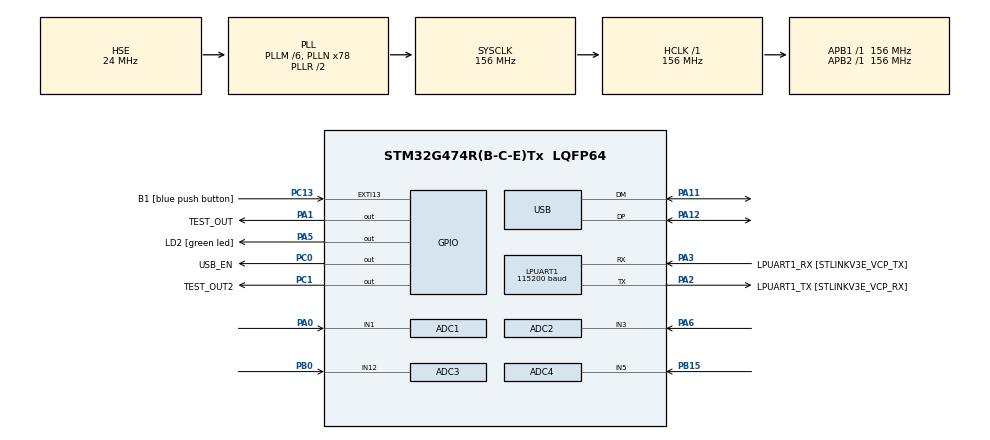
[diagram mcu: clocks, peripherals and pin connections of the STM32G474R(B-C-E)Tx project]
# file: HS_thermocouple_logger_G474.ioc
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ADC1.Channel-7\#ChannelRegularConversion=ADC_CHANNEL_1
ADC1.ClockPrescaler=ADC_CLOCK_ASYNC_DIV1
ADC1.ContinuousConvMode=DISABLE
ADC1.DMAContinuousRequests=ENABLE
ADC1.EnableRegularConversion=ENABLE
ADC1.ExternalTrigConv=ADC_EXTERNALTRIG_T2_TRGO
ADC1.NbrOfConversionFlag=1
ADC1.OffsetNumber-7\#ChannelRegularConversion=ADC_OFFSET_NONE
ADC1.OversamplingMode=ENABLE
ADC1.Rank-7\#ChannelRegularConversion=1
ADC1.Ratio=ADC_OVERSAMPLING_RATIO_32
ADC1.RightBitShift=ADC_RIGHTBITSHIFT_1
ADC1.SamplingTime-7\#ChannelRegularConversion=ADC_SAMPLETIME_2CYCLES_5
ADC1.master=1
ADC2.Channel-0\#ChannelRegularConversion=ADC_CHANNEL_3
ADC2.ClockPrescaler=ADC_CLOCK_ASYNC_DIV1
ADC2.DMAContinuousRequests=ENABLE
ADC2.ExternalTrigConv=ADC_EXTERNALTRIG_T2_TRGO
ADC2.NbrOfConversion=1
ADC2.NbrOfConversionFlag=1
ADC2.OffsetNumber-0\#ChannelRegularConversion=ADC_OFFSET_NONE
ADC2.OversamplingMode=ENABLE
ADC2.OversamplingStopReset=ADC_REGOVERSAMPLING_CONTINUED_MODE
ADC2.Rank-0\#ChannelRegularConversion=1
ADC2.Ratio=ADC_OVERSAMPLING_RATIO_32
ADC2.RightBitShift=ADC_RIGHTBITSHIFT_1
ADC2.SamplingTime-0\#ChannelRegularConversion=ADC_SAMPLETIME_2CYCLES_5
ADC3.Channel-0\#ChannelRegularConversion=ADC_CHANNEL_12
ADC3.ClockPrescaler=ADC_CLOCK_ASYNC_DIV1
ADC3.DMAContinuousRequests=ENABLE
ADC3.ExternalTrigConv=ADC_EXTERNALTRIG_T2_TRGO
ADC3.NbrOfConversionFlag=1
ADC3.OffsetNumber-0\#ChannelRegularConversion=ADC_OFFSET_NONE
ADC3.OversamplingMode=ENABLE
ADC3.Rank-0\#ChannelRegularConversion=1
ADC3.Ratio=ADC_OVERSAMPLING_RATIO_32
ADC3.RightBitShift=ADC_RIGHTBITSHIFT_1
ADC3.SamplingTime-0\#ChannelRegularConversion=ADC_SAMPLETIME_2CYCLES_5
ADC3.master=1
ADC4.Channel-0\#ChannelRegularConversion=ADC_CHANNEL_5
ADC4.ClockPrescaler=ADC_CLOCK_ASYNC_DIV1
ADC4.DMAContinuousRequests=ENABLE
ADC4.ExternalTrigConv=ADC_EXTERNALTRIG_T2_TRGO
ADC4.NbrOfConversionFlag=1
ADC4.OffsetNumber-0\#ChannelRegularConversion=ADC_OFFSET_NONE
ADC4.OversamplingMode=ENABLE
ADC4.Rank-0\#ChannelRegularConversion=1
ADC4.Ratio=ADC_OVERSAMPLING_RATIO_32
ADC4.RightBitShift=ADC_RIGHTBITSHIFT_1
ADC4.SamplingTime-0\#ChannelRegularConversion=ADC_SAMPLETIME_2CYCLES_5
Dma.ADC1.0.Direction=DMA_PERIPH_TO_MEMORY
Dma.ADC1.0.EventEnable=DISABLE
Dma.ADC1.0.Instance=DMA1_Channel5
Dma.ADC1.0.MemDataAlignment=DMA_MDATAALIGN_HALFWORD
Dma.ADC1.0.MemInc=DMA_MINC_ENABLE
Dma.ADC1.0.Mode=DMA_CIRCULAR
Dma.ADC1.0.PeriphDataAlignment=DMA_PDATAALIGN_HALFWORD
Dma.ADC1.0.PeriphInc=DMA_PINC_DISABLE
Dma.ADC1.0.Polarity=HAL_DMAMUX_REQ_GEN_RISING
Dma.ADC1.0.Priority=DMA_PRIORITY_LOW
Dma.ADC1.0.RequestNumber=1
Dma.ADC1.0.SignalID=NONE
Dma.ADC1.0.SyncEnable=DISABLE
Dma.ADC1.0.SyncPolarity=HAL_DMAMUX_SYNC_NO_EVENT
Dma.ADC1.0.SyncRequestNumber=1
Dma.ADC1.0.SyncSignalID=NONE
Dma.ADC2.1.Direction=DMA_PERIPH_TO_MEMORY
Dma.ADC2.1.EventEnable=DISABLE
Dma.ADC2.1.Instance=DMA1_Channel2
Dma.ADC2.1.MemDataAlignment=DMA_MDATAALIGN_HALFWORD
Dma.ADC2.1.MemInc=DMA_MINC_ENABLE
Dma.ADC2.1.Mode=DMA_CIRCULAR
Dma.ADC2.1.PeriphDataAlignment=DMA_PDATAALIGN_HALFWORD
Dma.ADC2.1.PeriphInc=DMA_PINC_DISABLE
Dma.ADC2.1.Polarity=HAL_DMAMUX_REQ_GEN_RISING
Dma.ADC2.1.Priority=DMA_PRIORITY_LOW
Dma.ADC2.1.RequestNumber=1
Dma.ADC2.1.SignalID=NONE
Dma.ADC2.1.SyncEnable=DISABLE
Dma.ADC2.1.SyncPolarity=HAL_DMAMUX_SYNC_NO_EVENT
Dma.ADC2.1.SyncRequestNumber=1
Dma.ADC2.1.SyncSignalID=NONE
Dma.ADC3.2.Direction=DMA_PERIPH_TO_MEMORY
Dma.ADC3.2.EventEnable=DISABLE
Dma.ADC3.2.Instance=DMA1_Channel3
Dma.ADC3.2.MemDataAlignment=DMA_MDATAALIGN_HALFWORD
Dma.ADC3.2.MemInc=DMA_MINC_ENABLE
Dma.ADC3.2.Mode=DMA_CIRCULAR
Dma.ADC3.2.PeriphDataAlignment=DMA_PDATAALIGN_HALFWORD
Dma.ADC3.2.PeriphInc=DMA_PINC_DISABLE
Dma.ADC3.2.Polarity=HAL_DMAMUX_REQ_GEN_RISING
Dma.ADC3.2.Priority=DMA_PRIORITY_LOW
Dma.ADC3.2.RequestNumber=1
Dma.ADC3.2.SignalID=NONE
Dma.ADC3.2.SyncEnable=DISABLE
Dma.ADC3.2.SyncPolarity=HAL_DMAMUX_SYNC_NO_EVENT
Dma.ADC3.2.SyncRequestNumber=1
Dma.ADC3.2.SyncSignalID=NONE
Dma.ADC4.3.Direction=DMA_PERIPH_TO_MEMORY
Dma.ADC4.3.EventEnable=DISABLE
Dma.ADC4.3.Instance=DMA1_Channel4
Dma.ADC4.3.MemDataAlignment=DMA_MDATAALIGN_HALFWORD
Dma.ADC4.3.MemInc=DMA_MINC_ENABLE
Dma.ADC4.3.Mode=DMA_CIRCULAR
Dma.ADC4.3.PeriphDataAlignment=DMA_PDATAALIGN_HALFWORD
Dma.ADC4.3.PeriphInc=DMA_PINC_DISABLE
Dma.ADC4.3.Polarity=HAL_DMAMUX_REQ_GEN_RISING
Dma.ADC4.3.Priority=DMA_PRIORITY_LOW
Dma.ADC4.3.RequestNumber=1
Dma.ADC4.3.SignalID=NONE
Dma.ADC4.3.SyncEnable=DISABLE
Dma.ADC4.3.SyncPolarity=HAL_DMAMUX_SYNC_NO_EVENT
Dma.ADC4.3.SyncRequestNumber=1
Dma.ADC4.3.SyncSignalID=NONE
Dma.Request0=ADC1
Dma.Request1=ADC2
Dma.Request2=ADC3
Dma.Request3=ADC4
LPUART1.BaudRate=115200
LPUART1.WordLength=UART_WORDLENGTH_8B
Mcu.Family=STM32G4
Mcu.Name=STM32G474R(B-C-E)Tx
Mcu.Package=LQFP64
NVIC.DMA1_Channel2_IRQn=true\:0\:0\:false\:false\:true\:false\:true\:true
NVIC.DMA1_Channel3_IRQn=true\:0\:0\:false\:false\:true\:false\:true\:true
NVIC.DMA1_Channel4_IRQn=true\:0\:0\:false\:false\:true\:false\:true\:true
NVIC.DMA1_Channel5_IRQn=true\:0\:0\:false\:false\:true\:false\:true\:true
NVIC.EXTI15_10_IRQn=true\:0\:0\:false\:false\:true\:true\:true\:true
NVIC.PriorityGroup=NVIC_PRIORITYGROUP_4
NVIC.TIM2_IRQn=true\:0\:0\:false\:false\:true\:true\:true\:true
NVIC.USB_HP_IRQn=true\:0\:0\:false\:false\:true\:true\:true\:true
NVIC.USB_LP_IRQn=true\:0\:0\:false\:false\:true\:false\:true\:true
PA0.Mode=IN1-Single-Ended
PA0.Signal=ADC1_IN1
PA1.GPIO_Label=TEST_OUT
PA1.GPIO_Speed=GPIO_SPEED_FREQ_VERY_HIGH
PA1.Signal=GPIO_Output
PA11.Mode=Device
PA11.Signal=USB_DM
PA12.Mode=Device
PA12.Signal=USB_DP
PA13.GPIO_Label=T_SWDIO
PA13.Mode=Serial_Wire
PA13.Signal=SYS_JTMS-SWDIO
PA14.GPIO_Label=T_SWCLK
PA14.Mode=Serial_Wire
PA14.Signal=SYS_JTCK-SWCLK
PA2.GPIO_Label=LPUART1_TX [STLINKV3E_VCP_RX]
PA2.Mode=Asynchronous
PA2.Signal=LPUART1_TX
PA3.GPIO_Label=LPUART1_RX [STLINKV3E_VCP_TX]
PA3.Mode=Asynchronous
PA3.Signal=LPUART1_RX
PA5.GPIO_Label=LD2 [green led]
PA5.Signal=GPIO_Output
PA6.Mode=IN3-Single-Ended
PA6.Signal=ADC2_IN3
PB0.Mode=IN12-Single-Ended
PB0.Signal=ADC3_IN12
PB15.Mode=IN5-Single-Ended
PB15.Signal=ADC4_IN5
PB3.GPIO_Label=T_SWO
PB3.Signal=SYS_JTDO-SWO
PC0.GPIO_Label=USB_EN
PC0.Signal=GPIO_Output
PC1.GPIO_Label=TEST_OUT2
PC1.GPIO_Speed=GPIO_SPEED_FREQ_VERY_HIGH
PC1.Signal=GPIO_Output
PC13.GPIO_Label=B1 [blue push button]
PC13.Signal=GPXTI13
PC14-OSC32_IN.Mode=LSE-External-Oscillator
PC14-OSC32_IN.Signal=RCC_OSC32_IN
PC15-OSC32_OUT.Mode=LSE-External-Oscillator
PC15-OSC32_OUT.Signal=RCC_OSC32_OUT
PF0-OSC_IN.Mode=HSE-External-Oscillator
PF0-OSC_IN.Signal=RCC_OSC_IN
PF1-OSC_OUT.Mode=HSE-External-Oscillator
PF1-OSC_OUT.Signal=RCC_OSC_OUT
ProjectManager.HeapSize=0x1000
ProjectManager.StackSize=0x1000
ProjectManager.TargetToolchain=STM32CubeIDE
RCC.ADC12CLockSelection=RCC_ADC12CLKSOURCE_PLL
RCC.ADC12Freq_Value=52000000
RCC.ADC345CLockSelection=RCC_ADC345CLKSOURCE_PLL
RCC.ADC345Freq_Value=52000000
RCC.AHBFreq_Value=156000000
RCC.APB1Freq_Value=156000000
RCC.APB1TimFreq_Value=156000000
RCC.APB2Freq_Value=156000000
RCC.APB2TimFreq_Value=156000000
RCC.CK48CLockSelection=RCC_USBCLKSOURCE_HSI48
RCC.CortexFreq_Value=156000000
RCC.EXTERNAL_CLOCK_VALUE=12288000
RCC.HCLKFreq_Value=156000000
RCC.HSE_VALUE=24000000
RCC.HSI48_VALUE=48000000
RCC.HSI_VALUE=16000000
RCC.PLLM=RCC_PLLM_DIV6
RCC.PLLN=78
RCC.PLLP=RCC_PLLP_DIV6
RCC.PLLSourceVirtual=RCC_PLLSOURCE_HSE
RCC.RTCClockSelection=RCC_RTCCLKSOURCE_LSE
RCC.SYSCLKFreq_VALUE=156000000
RCC.SYSCLKSource=RCC_SYSCLKSOURCE_PLLCLK
RCC.USBFreq_Value=48000000
RCC.VCOOutputFreq_Value=312000000
SYS.VoltageScaling=SYSCFG_VREFBUF_VOLTAGE_SCALE2
TIM2.PeriodNoDither=10 - 1
TIM2.Prescaler=156 - 1
TIM2.TIM_MasterOutputTrigger=TIM_TRGO_UPDATE
USB_DEVICE.CLASS_NAME_FS=CDC
USB_DEVICE.MANUFACTURER_STRING=BTL
USB_DEVICE.PRODUCT_STRING_CDC_FS=BTL TC logger
USB_DEVICE.VirtualMode=Cdc
USB_DEVICE.VirtualModeFS=Cdc_FS
VP_SYS_VS_DBSignals.Mode=DisableDeadBatterySignals
VP_TIM2_VS_ClockSourceINT.Mode=Internal
VP_USB_DEVICE_VS_USB_DEVICE_CDC_FS.Mode=CDC_FS
VREF+.Mode=InternalMode
VREF+.Signal=VREFBUF_OUT
board=NUCLEO-G474RE

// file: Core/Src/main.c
/* USER CODE BEGIN Header */
/**
  ******************************************************************************
  * @file           : main.c
  * @brief          : Main program body
  ******************************************************************************
  * @attention
  *
  * Copyright (c) 2024 STMicroelectronics.
  * All rights reserved.
  *
  * This software is licensed under terms that can be found in the LICENSE file
  * in the root directory of this software component.
  * If no LICENSE file comes with this software, it is provided AS-IS.
  *
  ******************************************************************************
  */
/* USER CODE END Header */
#include "main.h"
#include "usb_device.h"

/* USER CODE BEGIN Includes */
#include "usbd_cdc_if.h"
#include "stm32g4xx_ll_usb.h"
#include <string.h>
#include <stdio.h>
/* USER CODE END Includes */

/* USER CODE BEGIN PM */
extern USBD_HandleTypeDef hUsbDeviceFS;
/* USER CODE END PM */

ADC_HandleTypeDef hadc1;
ADC_HandleTypeDef hadc2;
ADC_HandleTypeDef hadc3;
ADC_HandleTypeDef hadc4;
DMA_HandleTypeDef hdma_adc1;
DMA_HandleTypeDef hdma_adc2;
DMA_HandleTypeDef hdma_adc3;
DMA_HandleTypeDef hdma_adc4;

UART_HandleTypeDef hlpuart1;

TIM_HandleTypeDef htim2;

/* USER CODE BEGIN PV */
uint16_t adc_buffers[MAX_CHANNEL_COUNT][ADC_BUFFER_SIZE];
int8_t rx_buffer[USB_RX_BUFFER_SIZE];

volatile enum PROG_STATE prog_state = IDLE;
volatile int target_conv_count = 0;
volatile int conv_count = 0;

uint16_t record_length_ms = 100;
uint16_t record_interval_us = 10;
char tc_type = 'J';
enum TRIG_SOURCE trig_source = TRIG_SHORT;
enum ADC_BUFFER_STATE adc_state[MAX_CHANNEL_COUNT] = {EMPTY, EMPTY, EMPTY, EMPTY};

/* USER CODE END PV */

void SystemClock_Config(void);
static void MX_GPIO_Init(void);
static void MX_DMA_Init(void);
static void MX_LPUART1_UART_Init(void);
static void MX_ADC1_Init(void);
static void MX_ADC2_Init(void);
static void MX_ADC3_Init(void);
static void MX_ADC4_Init(void);
static void MX_TIM2_Init(void);
/* USER CODE BEGIN PFP */
int InterpretConfig(void);
int InterpretVariable(char name[CFG_VAR_SIZE], char value[CFG_VAR_SIZE]);
int SetupMeasurement(void);
int StartMeasurement(void);
int SendData(void);
/* USER CODE END PFP */

int main(void)
{

  /* MCU Configuration--------------------------------------------------------*/

  /* Reset of all peripherals, Initializes the Flash interface and the Systick. */
  HAL_Init();

  /* Configure the system clock */
  SystemClock_Config();

  /* Initialize all configured peripherals */
  MX_GPIO_Init();
  MX_DMA_Init();
  MX_LPUART1_UART_Init();
  MX_ADC1_Init();
  MX_ADC2_Init();
  MX_ADC3_Init();
  MX_ADC4_Init();
  MX_TIM2_Init();
  MX_USB_Device_Init();

  /* Infinite loop */
  while (1)
  {

    /* USER CODE BEGIN 3 */
	  // Wait for instructions
	  if(prog_state == CFG_RECEIVED){
		  InterpretConfig();
	  }
	  if(prog_state == CFG_INTERPRETED){
		  SetupMeasurement();
	  }
	  if(prog_state == ARMED){
		  StartMeasurement();
	  }
	  if(prog_state == MEASURING){
		 if(adc_state[0] == START_FULL &&
			adc_state[1] == START_FULL &&
			adc_state[2] == START_FULL &&
			adc_state[3] == START_FULL) {
			 for(int i = 0; i < MAX_CHANNEL_COUNT; i++){
				 adc_state[i] = EMPTY;
			 }
			 HAL_GPIO_TogglePin(TEST_OUT_GPIO_Port, TEST_OUT_Pin);
		 }
		 else if(adc_state[0] == END_FULL &&
				 adc_state[1] == END_FULL &&
				 adc_state[2] == END_FULL &&
				 adc_state[3] == END_FULL) {
			 for(int i = 0; i < MAX_CHANNEL_COUNT; i++){
				 adc_state[i] = EMPTY;
			 }
			 HAL_GPIO_TogglePin(TEST_OUT2_GPIO_Port, TEST_OUT2_Pin);
		 }
	  }
	  if(prog_state == DONE){
		  HAL_TIM_Base_Stop_IT(&htim2);
		  HAL_ADC_Stop_DMA(&hadc1);
		  HAL_ADC_Stop_DMA(&hadc2);
		  HAL_ADC_Stop_DMA(&hadc3);
		  HAL_ADC_Stop_DMA(&hadc4);
		  memset(adc_buffers, 0, sizeof(adc_buffers));
		  prog_state = IDLE;
		  conv_count = 0;
	  }

  }
  /* USER CODE END 3 */
}

void SystemClock_Config(void)
{
  RCC_OscInitTypeDef RCC_OscInitStruct = {0};
  RCC_ClkInitTypeDef RCC_ClkInitStruct = {0};

  /** Configure the main internal regulator output voltage
  */
  HAL_PWREx_ControlVoltageScaling(PWR_REGULATOR_VOLTAGE_SCALE1_BOOST);

  /** Initializes the RCC Oscillators according to the specified parameters
  * in the RCC_OscInitTypeDef structure.
  */
  RCC_OscInitStruct.OscillatorType = RCC_OSCILLATORTYPE_HSI48|RCC_OSCILLATORTYPE_HSE;
  RCC_OscInitStruct.HSEState = RCC_HSE_ON;
  RCC_OscInitStruct.HSI48State = RCC_HSI48_ON;
  RCC_OscInitStruct.PLL.PLLState = RCC_PLL_ON;
  RCC_OscInitStruct.PLL.PLLSource = RCC_PLLSOURCE_HSE;
  RCC_OscInitStruct.PLL.PLLM = RCC_PLLM_DIV6;
  RCC_OscInitStruct.PLL.PLLN = 78;
  RCC_OscInitStruct.PLL.PLLP = RCC_PLLP_DIV6;
  RCC_OscInitStruct.PLL.PLLQ = RCC_PLLQ_DIV2;
  RCC_OscInitStruct.PLL.PLLR = RCC_PLLR_DIV2;
  if (HAL_RCC_OscConfig(&RCC_OscInitStruct) != HAL_OK)
  {
    Error_Handler();
  }

  /** Initializes the CPU, AHB and APB buses clocks
  */
  RCC_ClkInitStruct.ClockType = RCC_CLOCKTYPE_HCLK|RCC_CLOCKTYPE_SYSCLK
                              |RCC_CLOCKTYPE_PCLK1|RCC_CLOCKTYPE_PCLK2;
  RCC_ClkInitStruct.SYSCLKSource = RCC_SYSCLKSOURCE_PLLCLK;
  RCC_ClkInitStruct.AHBCLKDivider = RCC_SYSCLK_DIV1;
  RCC_ClkInitStruct.APB1CLKDivider = RCC_HCLK_DIV1;
  RCC_ClkInitStruct.APB2CLKDivider = RCC_HCLK_DIV1;

  if (HAL_RCC_ClockConfig(&RCC_ClkInitStruct, FLASH_LATENCY_4) != HAL_OK)
  {
    Error_Handler();
  }
}

static void MX_ADC1_Init(void)
{

  ADC_MultiModeTypeDef multimode = {0};
  ADC_ChannelConfTypeDef sConfig = {0};

  /** Common config
  */
  hadc1.Instance = ADC1;
  hadc1.Init.ClockPrescaler = ADC_CLOCK_ASYNC_DIV1;
  hadc1.Init.Resolution = ADC_RESOLUTION_12B;
  hadc1.Init.DataAlign = ADC_DATAALIGN_RIGHT;
  hadc1.Init.GainCompensation = 0;
  hadc1.Init.ScanConvMode = ADC_SCAN_DISABLE;
  hadc1.Init.EOCSelection = ADC_EOC_SINGLE_CONV;
  hadc1.Init.LowPowerAutoWait = DISABLE;
  hadc1.Init.ContinuousConvMode = DISABLE;
  hadc1.Init.NbrOfConversion = 1;
  hadc1.Init.DiscontinuousConvMode = DISABLE;
  hadc1.Init.ExternalTrigConv = ADC_EXTERNALTRIG_T2_TRGO;
  hadc1.Init.ExternalTrigConvEdge = ADC_EXTERNALTRIGCONVEDGE_RISING;
  hadc1.Init.DMAContinuousRequests = ENABLE;
  hadc1.Init.Overrun = ADC_OVR_DATA_PRESERVED;
  hadc1.Init.OversamplingMode = ENABLE;
  hadc1.Init.Oversampling.Ratio = ADC_OVERSAMPLING_RATIO_32;
  hadc1.Init.Oversampling.RightBitShift = ADC_RIGHTBITSHIFT_1;
  hadc1.Init.Oversampling.TriggeredMode = ADC_TRIGGEREDMODE_SINGLE_TRIGGER;
  hadc1.Init.Oversampling.OversamplingStopReset = ADC_REGOVERSAMPLING_CONTINUED_MODE;
  if (HAL_ADC_Init(&hadc1) != HAL_OK)
  {
    Error_Handler();
  }

  /** Configure the ADC multi-mode
  */
  multimode.Mode = ADC_MODE_INDEPENDENT;
  if (HAL_ADCEx_MultiModeConfigChannel(&hadc1, &multimode) != HAL_OK)
  {
    Error_Handler();
  }

  /** Configure Regular Channel
  */
  sConfig.Channel = ADC_CHANNEL_1;
  sConfig.Rank = ADC_REGULAR_RANK_1;
  sConfig.SamplingTime = ADC_SAMPLETIME_2CYCLES_5;
  sConfig.SingleDiff = ADC_SINGLE_ENDED;
  sConfig.OffsetNumber = ADC_OFFSET_NONE;
  sConfig.Offset = 0;
  if (HAL_ADC_ConfigChannel(&hadc1, &sConfig) != HAL_OK)
  {
    Error_Handler();
  }

}

static void MX_ADC2_Init(void)
{

  ADC_ChannelConfTypeDef sConfig = {0};

  /** Common config
  */
  hadc2.Instance = ADC2;
  hadc2.Init.ClockPrescaler = ADC_CLOCK_ASYNC_DIV1;
  hadc2.Init.Resolution = ADC_RESOLUTION_12B;
  hadc2.Init.DataAlign = ADC_DATAALIGN_RIGHT;
  hadc2.Init.GainCompensation = 0;
  hadc2.Init.ScanConvMode = ADC_SCAN_DISABLE;
  hadc2.Init.EOCSelection = ADC_EOC_SINGLE_CONV;
  hadc2.Init.LowPowerAutoWait = DISABLE;
  hadc2.Init.ContinuousConvMode = DISABLE;
  hadc2.Init.NbrOfConversion = 1;
  hadc2.Init.DiscontinuousConvMode = DISABLE;
  hadc2.Init.ExternalTrigConv = ADC_EXTERNALTRIG_T2_TRGO;
  hadc2.Init.ExternalTrigConvEdge = ADC_EXTERNALTRIGCONVEDGE_RISING;
  hadc2.Init.DMAContinuousRequests = ENABLE;
  hadc2.Init.Overrun = ADC_OVR_DATA_PRESERVED;
  hadc2.Init.OversamplingMode = ENABLE;
  hadc2.Init.Oversampling.Ratio = ADC_OVERSAMPLING_RATIO_32;
  hadc2.Init.Oversampling.RightBitShift = ADC_RIGHTBITSHIFT_1;
  hadc2.Init.Oversampling.TriggeredMode = ADC_TRIGGEREDMODE_SINGLE_TRIGGER;
  hadc2.Init.Oversampling.OversamplingStopReset = ADC_REGOVERSAMPLING_CONTINUED_MODE;
  if (HAL_ADC_Init(&hadc2) != HAL_OK)
  {
    Error_Handler();
  }

  /** Configure Regular Channel
  */
  sConfig.Channel = ADC_CHANNEL_3;
  sConfig.Rank = ADC_REGULAR_RANK_1;
  sConfig.SamplingTime = ADC_SAMPLETIME_2CYCLES_5;
  sConfig.SingleDiff = ADC_SINGLE_ENDED;
  sConfig.OffsetNumber = ADC_OFFSET_NONE;
  sConfig.Offset = 0;
  if (HAL_ADC_ConfigChannel(&hadc2, &sConfig) != HAL_OK)
  {
    Error_Handler();
  }

}

static void MX_ADC3_Init(void)
{

  ADC_MultiModeTypeDef multimode = {0};
  ADC_ChannelConfTypeDef sConfig = {0};

  /** Common config
  */
  hadc3.Instance = ADC3;
  hadc3.Init.ClockPrescaler = ADC_CLOCK_ASYNC_DIV1;
  hadc3.Init.Resolution = ADC_RESOLUTION_12B;
  hadc3.Init.DataAlign = ADC_DATAALIGN_RIGHT;
  hadc3.Init.GainCompensation = 0;
  hadc3.Init.ScanConvMode = ADC_SCAN_DISABLE;
  hadc3.Init.EOCSelection = ADC_EOC_SINGLE_CONV;
  hadc3.Init.LowPowerAutoWait = DISABLE;
  hadc3.Init.ContinuousConvMode = DISABLE;
  hadc3.Init.NbrOfConversion = 1;
  hadc3.Init.DiscontinuousConvMode = DISABLE;
  hadc3.Init.ExternalTrigConv = ADC_EXTERNALTRIG_T2_TRGO;
  hadc3.Init.ExternalTrigConvEdge = ADC_EXTERNALTRIGCONVEDGE_RISING;
  hadc3.Init.DMAContinuousRequests = ENABLE;
  hadc3.Init.Overrun = ADC_OVR_DATA_PRESERVED;
  hadc3.Init.OversamplingMode = ENABLE;
  hadc3.Init.Oversampling.Ratio = ADC_OVERSAMPLING_RATIO_32;
  hadc3.Init.Oversampling.RightBitShift = ADC_RIGHTBITSHIFT_1;
  hadc3.Init.Oversampling.TriggeredMode = ADC_TRIGGEREDMODE_SINGLE_TRIGGER;
  hadc3.Init.Oversampling.OversamplingStopReset = ADC_REGOVERSAMPLING_CONTINUED_MODE;
  if (HAL_ADC_Init(&hadc3) != HAL_OK)
  {
    Error_Handler();
  }

  /** Configure the ADC multi-mode
  */
  multimode.Mode = ADC_MODE_INDEPENDENT;
  if (HAL_ADCEx_MultiModeConfigChannel(&hadc3, &multimode) != HAL_OK)
  {
    Error_Handler();
  }

  /** Configure Regular Channel
  */
  sConfig.Channel = ADC_CHANNEL_12;
  sConfig.Rank = ADC_REGULAR_RANK_1;
  sConfig.SamplingTime = ADC_SAMPLETIME_2CYCLES_5;
  sConfig.SingleDiff = ADC_SINGLE_ENDED;
  sConfig.OffsetNumber = ADC_OFFSET_NONE;
  sConfig.Offset = 0;
  if (HAL_ADC_ConfigChannel(&hadc3, &sConfig) != HAL_OK)
  {
    Error_Handler();
  }

}

static void MX_ADC4_Init(void)
{

  ADC_ChannelConfTypeDef sConfig = {0};

  /** Common config
  */
  hadc4.Instance = ADC4;
  hadc4.Init.ClockPrescaler = ADC_CLOCK_ASYNC_DIV1;
  hadc4.Init.Resolution = ADC_RESOLUTION_12B;
  hadc4.Init.DataAlign = ADC_DATAALIGN_RIGHT;
  hadc4.Init.GainCompensation = 0;
  hadc4.Init.ScanConvMode = ADC_SCAN_DISABLE;
  hadc4.Init.EOCSelection = ADC_EOC_SINGLE_CONV;
  hadc4.Init.LowPowerAutoWait = DISABLE;
  hadc4.Init.ContinuousConvMode = DISABLE;
  hadc4.Init.NbrOfConversion = 1;
  hadc4.Init.DiscontinuousConvMode = DISABLE;
  hadc4.Init.ExternalTrigConv = ADC_EXTERNALTRIG_T2_TRGO;
  hadc4.Init.ExternalTrigConvEdge = ADC_EXTERNALTRIGCONVEDGE_RISING;
  hadc4.Init.DMAContinuousRequests = ENABLE;
  hadc4.Init.Overrun = ADC_OVR_DATA_PRESERVED;
  hadc4.Init.OversamplingMode = ENABLE;
  hadc4.Init.Oversampling.Ratio = ADC_OVERSAMPLING_RATIO_32;
  hadc4.Init.Oversampling.RightBitShift = ADC_RIGHTBITSHIFT_1;
  hadc4.Init.Oversampling.TriggeredMode = ADC_TRIGGEREDMODE_SINGLE_TRIGGER;
  hadc4.Init.Oversampling.OversamplingStopReset = ADC_REGOVERSAMPLING_CONTINUED_MODE;
  if (HAL_ADC_Init(&hadc4) != HAL_OK)
  {
    Error_Handler();
  }

  /** Configure Regular Channel
  */
  sConfig.Channel = ADC_CHANNEL_5;
  sConfig.Rank = ADC_REGULAR_RANK_1;
  sConfig.SamplingTime = ADC_SAMPLETIME_2CYCLES_5;
  sConfig.SingleDiff = ADC_SINGLE_ENDED;
  sConfig.OffsetNumber = ADC_OFFSET_NONE;
  sConfig.Offset = 0;
  if (HAL_ADC_ConfigChannel(&hadc4, &sConfig) != HAL_OK)
  {
    Error_Handler();
  }

}

static void MX_LPUART1_UART_Init(void)
{

  hlpuart1.Instance = LPUART1;
  hlpuart1.Init.BaudRate = 115200;
  hlpuart1.Init.WordLength = UART_WORDLENGTH_8B;
  hlpuart1.Init.StopBits = UART_STOPBITS_1;
  hlpuart1.Init.Parity = UART_PARITY_NONE;
  hlpuart1.Init.Mode = UART_MODE_TX_RX;
  hlpuart1.Init.HwFlowCtl = UART_HWCONTROL_NONE;
  hlpuart1.Init.OneBitSampling = UART_ONE_BIT_SAMPLE_DISABLE;
  hlpuart1.Init.ClockPrescaler = UART_PRESCALER_DIV1;
  hlpuart1.AdvancedInit.AdvFeatureInit = UART_ADVFEATURE_NO_INIT;
  if (HAL_UART_Init(&hlpuart1) != HAL_OK)
  {
    Error_Handler();
  }
  if (HAL_UARTEx_SetTxFifoThreshold(&hlpuart1, UART_TXFIFO_THRESHOLD_1_8) != HAL_OK)
  {
    Error_Handler();
  }
  if (HAL_UARTEx_SetRxFifoThreshold(&hlpuart1, UART_RXFIFO_THRESHOLD_1_8) != HAL_OK)
  {
    Error_Handler();
  }
  if (HAL_UARTEx_DisableFifoMode(&hlpuart1) != HAL_OK)
  {
    Error_Handler();
  }

}

static void MX_TIM2_Init(void)
{

  TIM_ClockConfigTypeDef sClockSourceConfig = {0};
  TIM_MasterConfigTypeDef sMasterConfig = {0};

  htim2.Instance = TIM2;
  htim2.Init.Prescaler = 156 - 1;
  htim2.Init.CounterMode = TIM_COUNTERMODE_UP;
  htim2.Init.Period = 9;
  htim2.Init.ClockDivision = TIM_CLOCKDIVISION_DIV1;
  htim2.Init.AutoReloadPreload = TIM_AUTORELOAD_PRELOAD_DISABLE;
  if (HAL_TIM_Base_Init(&htim2) != HAL_OK)
  {
    Error_Handler();
  }
  sClockSourceConfig.ClockSource = TIM_CLOCKSOURCE_INTERNAL;
  if (HAL_TIM_ConfigClockSource(&htim2, &sClockSourceConfig) != HAL_OK)
  {
    Error_Handler();
  }
  sMasterConfig.MasterOutputTrigger = TIM_TRGO_UPDATE;
  sMasterConfig.MasterSlaveMode = TIM_MASTERSLAVEMODE_DISABLE;
  if (HAL_TIMEx_MasterConfigSynchronization(&htim2, &sMasterConfig) != HAL_OK)
  {
    Error_Handler();
  }

}

static void MX_DMA_Init(void)
{

  /* DMA controller clock enable */
  __HAL_RCC_DMAMUX1_CLK_ENABLE();
  __HAL_RCC_DMA1_CLK_ENABLE();

  /* DMA interrupt init */
  /* DMA1_Channel2_IRQn interrupt configuration */
  HAL_NVIC_SetPriority(DMA1_Channel2_IRQn, 0, 0);
  HAL_NVIC_EnableIRQ(DMA1_Channel2_IRQn);
  /* DMA1_Channel3_IRQn interrupt configuration */
  HAL_NVIC_SetPriority(DMA1_Channel3_IRQn, 0, 0);
  HAL_NVIC_EnableIRQ(DMA1_Channel3_IRQn);
  /* DMA1_Channel4_IRQn interrupt configuration */
  HAL_NVIC_SetPriority(DMA1_Channel4_IRQn, 0, 0);
  HAL_NVIC_EnableIRQ(DMA1_Channel4_IRQn);
  /* DMA1_Channel5_IRQn interrupt configuration */
  HAL_NVIC_SetPriority(DMA1_Channel5_IRQn, 0, 0);
  HAL_NVIC_EnableIRQ(DMA1_Channel5_IRQn);

}

static void MX_GPIO_Init(void)
{
  GPIO_InitTypeDef GPIO_InitStruct = {0};

  /* GPIO Ports Clock Enable */
  __HAL_RCC_GPIOC_CLK_ENABLE();
  __HAL_RCC_GPIOF_CLK_ENABLE();
  __HAL_RCC_GPIOA_CLK_ENABLE();
  __HAL_RCC_GPIOB_CLK_ENABLE();

  /*Configure GPIO pin Output Level */
  HAL_GPIO_WritePin(GPIOC, USB_EN_Pin|TEST_OUT2_Pin, GPIO_PIN_RESET);

  /*Configure GPIO pin Output Level */
  HAL_GPIO_WritePin(GPIOA, TEST_OUT_Pin|LD2_Pin, GPIO_PIN_RESET);

  /*Configure GPIO pin : B1_Pin */
  GPIO_InitStruct.Pin = B1_Pin;
  GPIO_InitStruct.Mode = GPIO_MODE_IT_RISING;
  GPIO_InitStruct.Pull = GPIO_NOPULL;
  HAL_GPIO_Init(B1_GPIO_Port, &GPIO_InitStruct);

  /*Configure GPIO pin : USB_EN_Pin */
  GPIO_InitStruct.Pin = USB_EN_Pin;
  GPIO_InitStruct.Mode = GPIO_MODE_OUTPUT_PP;
  GPIO_InitStruct.Pull = GPIO_NOPULL;
  GPIO_InitStruct.Speed = GPIO_SPEED_FREQ_LOW;
  HAL_GPIO_Init(USB_EN_GPIO_Port, &GPIO_InitStruct);

  /*Configure GPIO pin : TEST_OUT2_Pin */
  GPIO_InitStruct.Pin = TEST_OUT2_Pin;
  GPIO_InitStruct.Mode = GPIO_MODE_OUTPUT_PP;
  GPIO_InitStruct.Pull = GPIO_NOPULL;
  GPIO_InitStruct.Speed = GPIO_SPEED_FREQ_VERY_HIGH;
  HAL_GPIO_Init(TEST_OUT2_GPIO_Port, &GPIO_InitStruct);

  /*Configure GPIO pin : TEST_OUT_Pin */
  GPIO_InitStruct.Pin = TEST_OUT_Pin;
  GPIO_InitStruct.Mode = GPIO_MODE_OUTPUT_PP;
  GPIO_InitStruct.Pull = GPIO_NOPULL;
  GPIO_InitStruct.Speed = GPIO_SPEED_FREQ_VERY_HIGH;
  HAL_GPIO_Init(TEST_OUT_GPIO_Port, &GPIO_InitStruct);

  /*Configure GPIO pin : LD2_Pin */
  GPIO_InitStruct.Pin = LD2_Pin;
  GPIO_InitStruct.Mode = GPIO_MODE_OUTPUT_PP;
  GPIO_InitStruct.Pull = GPIO_NOPULL;
  GPIO_InitStruct.Speed = GPIO_SPEED_FREQ_LOW;
  HAL_GPIO_Init(LD2_GPIO_Port, &GPIO_InitStruct);

  /* EXTI interrupt init*/
  HAL_NVIC_SetPriority(EXTI15_10_IRQn, 0, 0);
  HAL_NVIC_EnableIRQ(EXTI15_10_IRQn);

}

/* USER CODE BEGIN 4 */

int InterpretConfig(void) {
	char variable_name[CFG_VAR_SIZE];
	char variable_value[CFG_VAR_SIZE];
	memset(variable_name, 0, sizeof(variable_name));
	memset(variable_value, 0, sizeof(variable_value));
	int variable_name_indexes[2] = {0, 0};
	int variable_value_indexes[2] = {0, 0};
	char reading_status = 'n';
	for(int i = 0; i < USB_RX_BUFFER_SIZE; i++){
		if(rx_buffer[i] == '\0'){
			break;
		}
		// Reading the variable name
		if(reading_status == 'n'){
			if(rx_buffer[i] == ':') {
				variable_name_indexes[1] = i;
				variable_value_indexes[0] = i+1;
				reading_status = 'v';
			}
		}
		// Reading the variable value
		else if(reading_status == 'v'){
			if(rx_buffer[i] == ';') {
				variable_value_indexes[1] = i;

				strncpy(variable_name, ((char*)rx_buffer + variable_name_indexes[0]), (variable_name_indexes[1] - variable_name_indexes[0]));
				variable_name[variable_name_indexes[1] + 1] = '\0';
				strncpy(variable_value, ((char*)rx_buffer + variable_value_indexes[0]), (variable_value_indexes[1] - variable_value_indexes[0]));
				variable_value[variable_value_indexes[1] + 1] = '\0';

				InterpretVariable(variable_name, variable_value);
				memset(variable_name, 0, sizeof(variable_name));
				memset(variable_value, 0, sizeof(variable_value));
				variable_name_indexes[0] = i + 1;
				reading_status = 'n';
			}
		}
	}

	prog_state = CFG_INTERPRETED;
	return 1;
}

int InterpretVariable(char name[CFG_VAR_SIZE], char value[CFG_VAR_SIZE]) {
	if(strcmp(name, "RecLen") == 0) {
		record_length_ms = (uint16_t)atoi(value);
	}
	else if(strcmp(name, "RecInt") == 0) {
		record_interval_us = (uint16_t)atoi(value);
	}
	else if(strcmp(name, "TcType") == 0) {
		tc_type = value[0];
	}
	else if(strcmp(name, "TrgSrc") == 0) {
		if(strcmp(value, "btn") == 0) {
			trig_source = TRIG_SHORT;
		}
		else if(strcmp(value, "ex1") == 0) {
			trig_source = TRIG_EXT_1;
		}
		else if(strcmp(value, "ex2") == 0) {
			trig_source = TRIG_EXT_2;
		}
	}
	return 1;
}

int SetupMeasurement(void){
	// ADC sync timer
	target_conv_count = (record_length_ms * 1000) / record_interval_us;

	__HAL_TIM_SET_AUTORELOAD(&htim2, record_interval_us - 1);
	__HAL_TIM_SET_COUNTER(&htim2, record_interval_us - 1);

	// Calculate and set DAC value

	prog_state = ARMED;
	return 1;
}

int StartMeasurement(void) {
	HAL_ADCEx_Calibration_Start(&hadc1, ADC_SINGLE_ENDED);
	HAL_ADC_Start_DMA(&hadc1, (uint32_t*)adc_buffers[0], ADC_BUFFER_SIZE);
	HAL_ADCEx_Calibration_Start(&hadc2, ADC_SINGLE_ENDED);
	HAL_ADC_Start_DMA(&hadc2, (uint32_t*)adc_buffers[1], ADC_BUFFER_SIZE);
	HAL_ADCEx_Calibration_Start(&hadc3, ADC_SINGLE_ENDED);
	HAL_ADC_Start_DMA(&hadc3, (uint32_t*)adc_buffers[2], ADC_BUFFER_SIZE);
	HAL_ADCEx_Calibration_Start(&hadc4, ADC_SINGLE_ENDED);
	HAL_ADC_Start_DMA(&hadc4, (uint32_t*)adc_buffers[3], ADC_BUFFER_SIZE);
	HAL_TIM_Base_Start_IT(&htim2);
	prog_state = MEASURING;

	return 1;
}

// Called when first half of buffer is filled
void HAL_ADC_ConvHalfCpltCallback(ADC_HandleTypeDef* hadc) {
	if (hadc == &hadc1){
		adc_state[0] = START_FULL;
	}
	else if(hadc == &hadc2){
		adc_state[1] = START_FULL;
	}
	else if(hadc == &hadc3){
		adc_state[2] = START_FULL;
	}
	else if(hadc == &hadc4){
		adc_state[3] = START_FULL;
	}
}

// Called when buffer is completely filled
void HAL_ADC_ConvCpltCallback(ADC_HandleTypeDef* hadc) {
	printf("Asdf");
	if (hadc == &hadc1){
		adc_state[0] = END_FULL;
	}
	else if(hadc == &hadc2){
		adc_state[1] = END_FULL;
	}
	else if(hadc == &hadc3){
		adc_state[2] = END_FULL;
	}
	else if(hadc == &hadc4){
		adc_state[3] = END_FULL;
	}
}

int SendData(void) {
	unsigned char tx_buffer[USB_TX_BUFFER_SIZE];

	uint8_t adc_packet_counter = 0;

	if(prog_state == START_FULL || prog_state == END_FULL){

		// Clear header
		for(int i = 0; i < USB_HEADER_SIZE; i++){
			tx_buffer[i] = 0;
		}
		// Write header
		sprintf((char *)tx_buffer, "PktNo:%.3d;", adc_packet_counter);

		// Determine place in ADC buffer
		unsigned int adc_buffer_start_index;
		if(prog_state == START_FULL)
			adc_buffer_start_index = 0;
		else if(prog_state == END_FULL)
			adc_buffer_start_index = ADC_BUFFER_SIZE/2;

		// Offset USB tx buffer index by header length
		unsigned int tx_start_index = USB_HEADER_SIZE;

		// Iterate through all ADCs
		for(int adc_index = 0; adc_index < MAX_CHANNEL_COUNT; adc_index++){

			for(int i = 0; i < ADC_BUFFER_SIZE/2; i++){
				tx_buffer[tx_start_index + (i*2)+1] = (uint8_t)(adc_buffers[adc_index][adc_buffer_start_index + i] & 0x00FF);
				tx_buffer[tx_start_index + i*2] = (uint8_t)((adc_buffers[adc_index][adc_buffer_start_index + i] >> 8) & 0x00FF);
			}
			tx_start_index += ADC_BUFFER_SIZE;
		}

		while(CDC_Transmit_FS(tx_buffer, USB_TX_BUFFER_SIZE) != USBD_OK);
		adc_packet_counter++;
		prog_state = IDLE;

	}
}

/* USER CODE END 4 */

void Error_Handler(void)
{
  __disable_irq();
  while (1)
  {
  }
}
